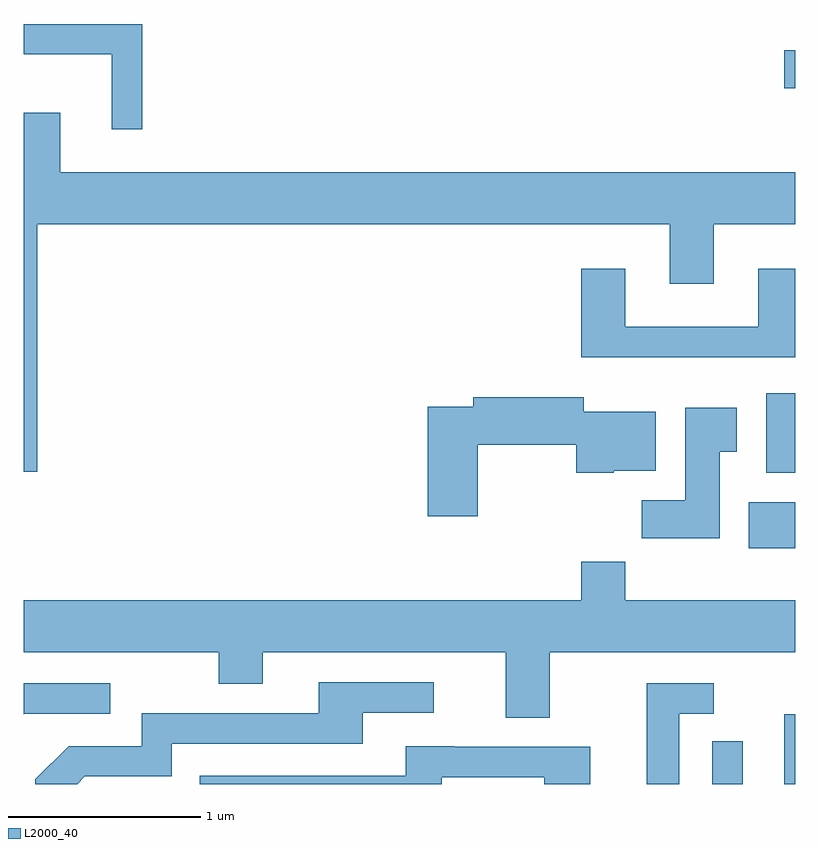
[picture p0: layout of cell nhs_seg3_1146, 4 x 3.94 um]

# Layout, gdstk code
import gdstk
lib = gdstk.Library(unit=1e-6, precision=1e-09)
def R(c, l, rs):  # rectangles x0, y0, x1, y1
    for r in rs: c.add(gdstk.rectangle(r[:2], r[2:], *l))
def P(c, l, *ps):  # polygons
    for p in ps: c.add(gdstk.Polygon(p, *l))
L2000_40 = (2000, 40)

nhs_seg3_1146 = lib.new_cell('nhs_seg3_1146')
R(nhs_seg3_1146, L2000_40, [(221.181,1231.892,221.339,1232.113), (221.556,1231.892,221.611,1232.254), (221.371,1233.116,221.611,1233.354), (221.461,1233.506,221.611,1233.919), (221.556,1235.501,221.611,1235.699)])
P(nhs_seg3_1146, L2000_40, [(218.224,1235.834),(217.611,1235.834),(217.611,1235.676),(218.066,1235.676),(218.066,1235.288),(218.224,1235.288)],
  [(217.679,1234.796),(220.961,1234.796),(220.961,1234.486),(221.189,1234.486),(221.189,1234.796),(221.611,1234.796),(221.611,1235.064),(217.799,1235.064),(217.799,1235.374),(217.611,1235.374),(217.611,1233.511),(217.679,1233.511)],
  [(221.611,1234.564),(221.421,1234.564),(221.421,1234.264),(220.729,1234.264),(220.729,1234.564),(220.501,1234.564),(220.501,1234.106),(221.611,1234.106)],
  [(219.964,1233.651),(220.476,1233.651),(220.476,1233.506),(220.67,1233.506),(220.67,1233.516),(220.889,1233.516),(220.889,1233.824),(220.514,1233.824),(220.514,1233.899),(219.941,1233.899),(219.941,1233.849),(219.706,1233.849),(219.706,1233.281),(219.964,1233.281)],
  [(221.219,1233.616),(221.309,1233.616),(221.309,1233.844),(221.041,1233.844),(221.041,1233.364),(220.816,1233.364),(220.816,1233.166),(221.219,1233.166)],
  [(220.339,1232.576),(221.611,1232.576),(221.611,1232.844),(220.729,1232.844),(220.729,1233.044),(220.501,1233.044),(220.501,1232.844),(217.611,1232.844),(217.611,1232.576),(218.621,1232.576),(218.621,1232.411),(218.849,1232.411),(218.849,1232.576),(220.111,1232.576),(220.111,1232.236),(220.339,1232.236)],
  [(217.927,1231.931),(218.379,1231.931),(218.379,1232.101),(219.369,1232.101),(219.369,1232.261),(219.738,1232.261),(219.738,1232.419),(219.141,1232.419),(219.141,1232.259),(218.221,1232.259),(218.221,1232.089),(217.844,1232.089),(217.671,1231.917),(217.671,1231.892),(217.888,1231.892)],
  [(221.009,1232.256),(221.188,1232.256),(221.188,1232.414),(220.841,1232.414),(220.841,1231.892),(221.009,1231.892)],
  [(217.612,1232.256),(218.058,1232.256),(218.058,1232.414),(217.611,1232.414),(217.611,1232.255)],
  [(219.779,1231.926),(220.311,1231.926),(220.311,1231.892),(220.549,1231.892),(220.549,1232.084),(219.845,1232.084),(219.845,1232.089),(219.591,1232.089),(219.591,1231.934),(218.523,1231.934),(218.523,1231.892),(219.779,1231.892)])

lib.write_gds('nhs_seg3_1146.gds')
